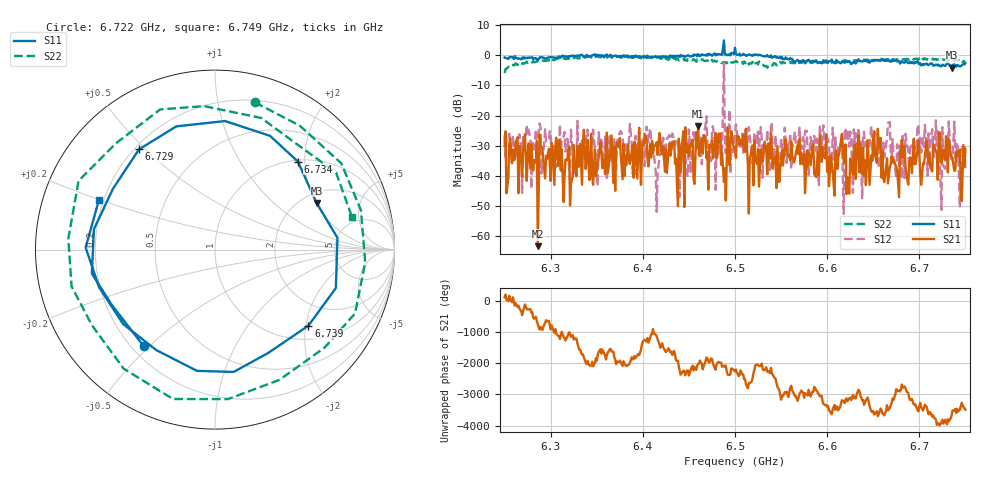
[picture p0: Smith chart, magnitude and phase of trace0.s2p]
# Hz S RI R 50
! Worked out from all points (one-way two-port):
!   401 points, 6.25 GHz to 6.75 GHz, reference 50 ohm
!   highest |S21| = -23.62 dB at 6.46 GHz (marker M1); lowest = -63.4 dB at 6.286 GHz (marker M2)
!   lowest |S11| = -4.1 dB at 6.735 GHz (marker M3), VSWR 4.30, Z = 120 + j102 ohm
!   |S11| at or under -10 dB: nowhere
!   |S22| runs from -5.9 to 0.0 dB; largest |S21 - S12| = 0.75
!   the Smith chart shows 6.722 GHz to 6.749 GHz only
!   S11 on the Smith chart (normalised r, x): 6.722 GHz: 0.25, -0.48; 6.729 GHz: 0.22, +0.48; 6.734 GHz: 1.03, +1.85; 6.739 GHz: 1.34, -2.07; 6.749 GHz: 0.18, +0.20
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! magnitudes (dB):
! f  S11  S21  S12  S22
! 6.25 GHz  -0.7  -30.0  -26.5  -5.9
! 6.286 GHz  -1.7  -63.4  -28.2  -2.0
! 6.334 GHz  0.1  -43.0  -28.2  -0.7
! 6.406 GHz  -0.7  -36.9  -28.9  -0.7
! 6.418 GHz  -0.4  -25.8  -34.1  -0.8
! 6.428 GHz  -0.5  -31.6  -27.0  -1.5
! 6.439 GHz  -0.3  -27.7  -31.5  -1.7
! 6.46 GHz  0.3  -23.6  -26.7  -1.6
! 6.481 GHz  0.2  -31.7  -34.2  -2.0
! 6.488 GHz  4.9  -42.0  -2.6  -2.2
! 6.5 GHz  2.5  -31.3  -26.3  -2.2
! 6.518 GHz  -0.1  -31.7  -33.0  -2.8
! 6.584 GHz  -1.8  -29.9  -30.9  -2.6
! 6.668 GHz  -2.1  -37.3  -22.2  -1.6
! 6.675 GHz  -1.7  -37.7  -40.6  -1.4
! 6.722 GHz  -3.5  -25.6  -31.0  -1.4
! 6.729 GHz  -3.1  -26.9  -30.2  -1.3
! 6.734 GHz  -3.4  -32.6  -33.6  -1.3
! 6.735 GHz  -4.1  -33.5  -34.6  -1.6
! 6.739 GHz  -3.5  -38.2  -34.0  -1.7
! 6.749 GHz  -3.1  -37.0  -30.6  -2.1
! 6.75 GHz  -2.6  -31.1  -38.0  -2.0
